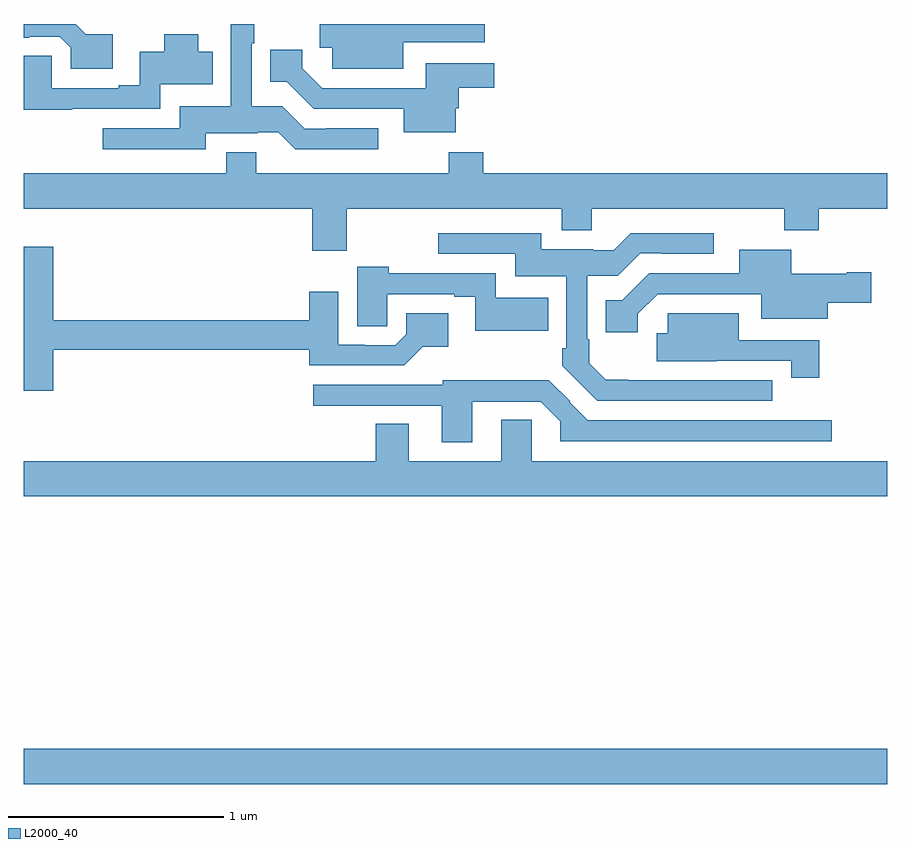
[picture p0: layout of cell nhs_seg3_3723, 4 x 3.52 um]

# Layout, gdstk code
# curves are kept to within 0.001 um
import gdstk
lib = gdstk.Library(unit=1e-6, precision=1e-09)
def R(c, l, rs):  # rectangles x0, y0, x1, y1
    for r in rs: c.add(gdstk.rectangle(r[:2], r[2:], *l))
def P(c, l, *ps):  # polygons
    for p in ps: c.add(gdstk.Polygon(p, *l))
L2000_40 = (2000, 40)

nhs_seg3_3723 = lib.new_cell('nhs_seg3_3723')
R(nhs_seg3_3723, L2000_40, [(303,736.88,307,737.044), (306.092,740.399,306.481,740.4)])
P(nhs_seg3_3723, L2000_40, [(303.412,740.353),(303.288,740.353),(303.241,740.4),(303,740.4),(303,740.337),(303.026,740.337),(303.026,740.34),(303.168,740.34),(303.218,740.29),(303.218,740.192),(303.412,740.192)],
  [(304.642,739.917),(304.402,739.917),(304.402,739.914),(304.302,739.914),(304.197,740.019),(304.056,740.019),(304.056,740.312),(304.067,740.312),(304.067,740.4),(303.959,740.4),(303.96,740.02),(303.722,740.02),(303.722,739.917),(303.366,739.917),(303.366,739.821),(303.844,739.821),(303.844,739.895),(304.085,739.895),(304.085,739.899),(304.179,739.899),(304.258,739.82),(304.642,739.82)],
  [(304.759,740.316),(305.135,740.316),(305.135,740.4),(304.371,740.4),(304.371,740.291),(304.43,740.291),(304.43,740.192),(304.759,740.192)],
  [(303.226,740.007),(303.633,740.007),(303.633,740.12),(303.875,740.12),(303.875,740.272),(303.808,740.272),(303.808,740.353),(303.65,740.353),(303.65,740.272),(303.537,740.272),(303.537,740.116),(303.44,740.116),(303.44,740.103),(303.129,740.103),(303.129,740.252),(303,740.252),(303,740.002),(303.226,740.002)],
  [(305.002,740.01),(305.015,740.01),(305.015,740.104),(305.179,740.104),(305.179,740.218),(304.862,740.218),(304.862,740.103),(304.383,740.103),(304.291,740.195),(304.291,740.28),(304.141,740.28),(304.141,740.132),(304.218,740.132),(304.343,740.007),(304.76,740.007),(304.76,739.898),(305.002,739.898)],
  [(304.497,739.544),(305.492,739.544),(305.492,739.445),(305.632,739.445),(305.632,739.544),(306.523,739.544),(306.523,739.445),(306.683,739.445),(306.683,739.544),(307,739.544),(307,739.708),(305.129,739.708),(305.129,739.807),(304.969,739.807),(304.969,739.708),(304.078,739.708),(304.078,739.807),(303.938,739.807),(303.938,739.708),(303,739.708),(303,739.544),(304.337,739.544),(304.337,739.35),(304.497,739.35)],
  [(306.466,738.75),(305.8,738.75),(305.8,738.753),(305.696,738.753),(305.62,738.828),(305.62,738.94),(305.61,738.94),(305.61,739.233),(305.751,739.233),(305.856,739.338),(305.956,739.338),(305.956,739.335),(306.196,739.335),(306.196,739.432),(305.812,739.432),(305.733,739.353),(305.639,739.353),(305.639,739.357),(305.398,739.357),(305.398,739.431),(304.92,739.431),(304.92,739.335),(305.276,739.335),(305.276,739.232),(305.514,739.232),(305.514,738.898),(305.494,738.898),(305.494,738.817),(305.657,738.654),(306.466,738.654)],
  [(303.137,738.892),(304.322,738.892),(304.322,738.819),(304.762,738.819),(304.848,738.905),(304.966,738.905),(304.966,739.06),(304.773,739.06),(304.773,738.963),(304.722,738.912),(304.58,738.912),(304.58,738.915),(304.456,738.915),(304.456,739.159),(304.322,739.159),(304.322,739.028),(303.137,739.028),(303.137,739.369),(303,739.369),(303,738.702),(303.137,738.702)],
  [(305.845,739.057),(305.937,739.149),(306.416,739.149),(306.416,739.034),(306.724,739.034),(306.724,739.109),(306.925,739.109),(306.925,739.251),(306.812,739.251),(306.812,739.243),(306.556,739.243),(306.556,739.354),(306.314,739.354),(306.314,739.245),(305.897,739.245),(305.772,739.12),(305.695,739.12),(305.695,738.972),(305.845,738.972)],
  [(305.429,739.132),(305.187,739.132),(305.187,739.245),(304.691,739.245),(304.691,739.276),(304.544,739.276),(304.544,739),(304.683,739),(304.683,739.149),(304.994,739.149),(304.994,739.137),(305.091,739.137),(305.091,738.98),(305.429,738.98)],
  [(306.685,738.936),(306.313,738.936),(306.313,739.06),(305.984,739.06),(305.984,738.967),(305.933,738.967),(305.933,738.839),(306.209,738.839),(306.209,738.84),(306.554,738.84),(306.554,738.762),(306.685,738.762)],
  [(305.077,738.651),(305.394,738.651),(305.485,738.561),(305.485,738.468),(306.742,738.468),(306.742,738.564),(305.613,738.564),(305.528,738.649),(305.531,738.652),(305.433,738.75),(304.941,738.75),(304.941,738.729),(304.341,738.729),(304.341,738.633),(304.937,738.633),(304.937,738.462),(305.077,738.462)],
  [(307,738.376),(305.352,738.376),(305.352,738.566),(305.213,738.566),(305.213,738.376),(304.783,738.376),(304.783,738.548),(304.631,738.548),(304.631,738.376),(303,738.376),(303,738.212),(307,738.212)])

lib.write_gds('nhs_seg3_3723.gds')
